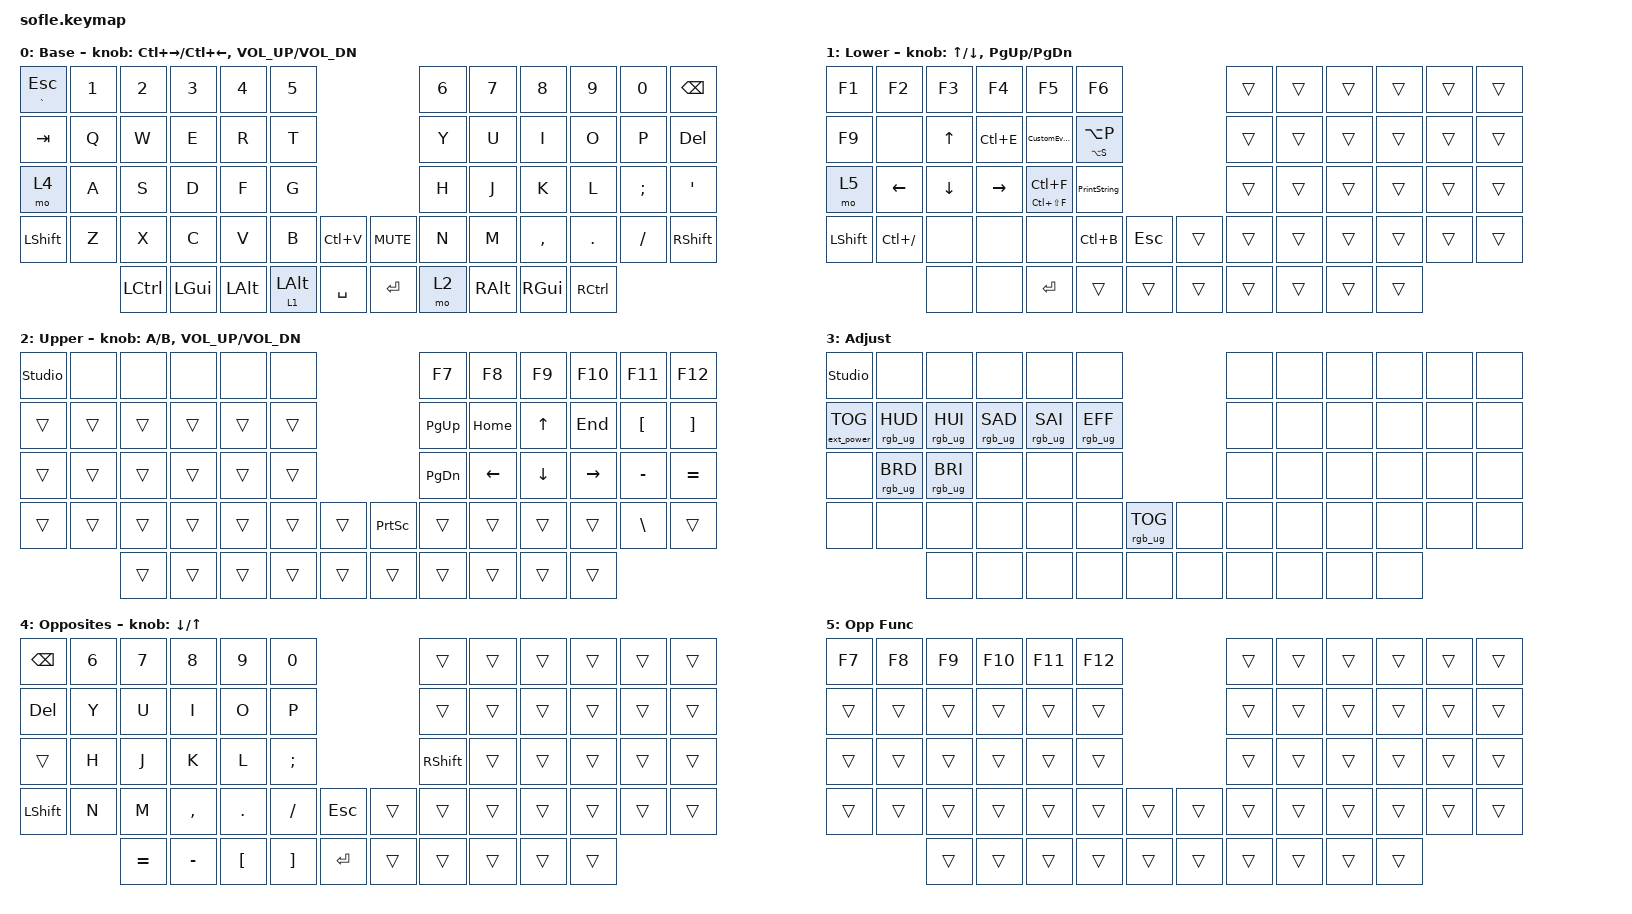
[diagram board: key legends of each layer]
/*
 * Copyright (c) 2020 The ZMK Contributors
 *
 * SPDX-License-Identifier: MIT
 */

#include <behaviors.dtsi>
#include <dt-bindings/zmk/ext_power.h>
#include <dt-bindings/zmk/keys.h>
#include <dt-bindings/zmk/rgb.h>

#define BASE 0
#define LOWER 1
#define RAISE 2
#define ADJUST 3

/ {
    // Activate ADJUST layer by pressing raise and lower

    conditional_layers {
        compatible = "zmk,conditional-layers";

        adjust_layer {
            if-layers = <1 2>;
            then-layer = <3>;
        };
    };

    macros {
        CustomEvent: CustomEvent {
            compatible = "zmk,behavior-macro";
            #binding-cells = <0>;
            bindings = <&kp TAB &kp LS(A) &kp D &kp D &kp SPACE &kp LS(C) &kp U &kp S &kp T &kp O &kp M &kp SPACE &kp LS(E) &kp V &kp E &kp N &kp T &kp DOT &kp DOT &kp DOT &kp ENTER>;
            label = "CUSTOMEVENT";
            wait-ms = <5>;
            tap-ms = <5>;
        };

        PrintString: new_macro {
            compatible = "zmk,behavior-macro";
            #binding-cells = <0>;
            bindings = <&kp TAB &kp LS(P) &kp R &kp I &kp N &kp T &kp SPACE &kp LS(S) &kp T &kp R &kp I &kp N &kp G &kp ENTER>;
            label = "NEW_MACRO";
        };

        DCancelA: DCancelA {
            compatible = "zmk,behavior-macro";
            #binding-cells = <0>;
            bindings =
                <&macro_release>,
                <&kp A>,
                <&macro_press>,
                <&kp D>,
                <&macro_pause_for_release>,
                <&macro_release>,
                <&kp D>,
                <&macro_press>,
                <&kp A>;

            label = "DCANCELA";
        };

        ACancelD: ACancelD {
            compatible = "zmk,behavior-macro";
            #binding-cells = <0>;
            bindings =
                <&macro_release>,
                <&kp D>,
                <&macro_press>,
                <&kp A>,
                <&macro_pause_for_release>,
                <&macro_release>,
                <&kp A>,
                <&macro_press>,
                <&kp D>;

            label = "ACANCELD";
        };

        esc_key_long_tap: esc_key_long_tap {
            compatible = "zmk,behavior-macro";
            #binding-cells = <0>;
            bindings = <&macro_tap>, <&kp ESC>;

            label = "ESC_KEY_LONG_TAP";
            tap-ms = <200>;
        };

        Long_Alt: Long_Alt {
            compatible = "zmk,behavior-macro";
            #binding-cells = <0>;
            bindings = <&macro_tap>, <&kp LEFT_ALT>;

            label = "LONG_ALT";
            tap-ms = <200>;
        };
    };

    combos {
        compatible = "zmk,combos";

        BackspaceOnLeft {
            bindings = <&kp BACKSPACE>;
            key-positions = <24 36>;
        };

        ComboDelete {
            bindings = <&kp DELETE>;
            key-positions = <53 54>;
        };

        NextDesktop {
            bindings = <&kp LG(LC(RIGHT_ARROW))>;
            key-positions = <4 5>;
            require-prior-idle-ms = <1000>;
        };

        PreviousDesktop {
            bindings = <&kp LC(LG(LEFT_ARROW))>;
            key-positions = <4 3>;
            require-prior-idle-ms = <1000>;
        };
    };

    behaviors {
        MT_Long: MT_Long {
            compatible = "zmk,behavior-hold-tap";
            label = "MT_LONG";
            bindings = <&mo>, <&Long_Alt>;

            #binding-cells = <2>;
            flavor = "hold-preferred";
            tapping-term-ms = <200>;
        };

        MT_Keys: MT_Keys {
            compatible = "zmk,behavior-hold-tap";
            label = "MT_KEYS";
            bindings = <&kp>, <&esc_key_long_tap>;

            #binding-cells = <2>;
            tapping-term-ms = <200>;
            flavor = "tap-preferred";
        };
    };

    keymap {
        compatible = "zmk,keymap";

        default_layer {
            display-name = "Base";

            // ------------------------------------------------------------------------------------------------------------
            // |   `   |  1  |  2  |  3   |  4   |  5   |                   |  6   |  7    |  8    |  9   |   0   |  BSPC |
            // |  ESC  |  Q  |  W  |  E   |  R   |  T   |                   |  Y   |  U    |  I    |  O   |   P   |  DEL  |
            // |  TAB  |  A  |  S  |  D   |  F   |  G   |                   |  H   |  J    |  K    |  L   |   ;   |   '   |
            // | SHIFT |  Z  |  X  |  C   |  V   |  B   |  MUTE  |  |       |  N   |  M    |  ,    |  .   |   /   | SHIFT |
            //               | CTRL| WIN  | ALT  | LOWER|  SPACE |  | ENTER | RAISE| ALT   | WIN   | CTRL |

            bindings = <
&MT_Keys GRAVE ESCAPE  &kp N1  &kp N2     &kp N3    &kp N4    &kp N5                                        &kp N6  &kp N7         &kp N8     &kp N9     &kp N0    &kp BSPC
&kp TAB                &kp Q   &kp W      &kp E     &kp R     &kp T                                         &kp Y   &kp U          &kp I      &kp O      &kp P     &kp DEL
&mo 4                  &kp A   &kp S      &kp D     &kp F     &kp G                                         &kp H   &kp J          &kp K      &kp L      &kp SEMI  &kp SQT
&kp LEFT_SHIFT         &kp Z   &kp X      &kp C     &kp V     &kp B                &kp LC(V)    &kp C_MUTE  &kp N   &kp M          &kp COMMA  &kp DOT    &kp FSLH  &kp RSHFT
                               &kp LCTRL  &kp LGUI  &kp LALT  &MT_Long 1 LEFT_ALT  &kp SPACE    &kp RET     &mo 2   &kp RIGHT_ALT  &kp RGUI   &kp RCTRL
            >;

            sensor-bindings =
                <&inc_dec_kp LC(RIGHT) LC(LEFT)>,
                <&inc_dec_kp C_VOL_UP C_VOL_DN>;
        };

        lower_layer {
            display-name = "Lower";

            // TODO: Some binds are waiting for shifted keycode support.
            // ------------------------------------------------------------------------------------------------------------
            // |       |  F1 |  F2 |  F3  |  F4  |  F5  |                   |  F6  |  F7   |  F8   |  F9  |  F10  |  F11  |
            // |   `   |  1  |  2  |  3   |  4   |  5   |                   |  6   |  7    |  8    |  9   |   0   |  F12  |
            // |       |  !  |  @  |  #   |  $   |  %   |                   |  ^   |  &    |  *    |  (   |   )   |   |   |
            // |       |  =  |  -  |  +   |  {   |  }   |        |  |       |  [   |  ]    |  ;    |  :   |   \   |       |
            //               |     |      |      |      |        |  |       |      |       |       |      |

            bindings = <
&kp F1     &kp F2         &kp F3          &kp F4     &kp F5               &kp F6                                 &trans  &trans  &trans  &trans  &trans  &trans
&kp F9     &none          &kp UP_ARROW    &kp LC(E)  &CustomEvent         &mt LA(S) LA(P)                        &trans  &trans  &trans  &trans  &trans  &trans
&mo 5      &kp LEFT       &kp DOWN_ARROW  &kp RIGHT  &mt LC(LS(F)) LC(F)  &PrintString                           &trans  &trans  &trans  &trans  &trans  &trans
&kp LSHFT  &kp LC(SLASH)  &none           &none      &none                &kp LC(B)        &kp ESCAPE    &trans  &trans  &trans  &trans  &trans  &trans  &trans
                          &none           &none      &kp ENTER            &trans           &trans        &trans  &trans  &trans  &trans  &trans
            >;

            sensor-bindings =
                <&inc_dec_kp UP_ARROW DOWN>,
                <&inc_dec_kp PG_UP PG_DN>;
        };

        raise_layer {
            display-name = "Upper";

            // ------------------------------------------------------------------------------------------------------------
            // | BTCLR | BT1  | BT2  |  BT3  |  BT4  |  BT5 |                |      |      |       |      |       |       |
            // |       | INS  | PSCR | GUI   |       |      |                | PGUP |      |   ^   |      |       |       |
            // |       | ALT  | CTRL | SHIFT |       | CAPS |                | PGDN |   <- |   v   |  ->  |  DEL  | BKSPC |
            // |       | UNDO | CUT  | COPY  | PASTE |      |      |  |      |      |      |       |      |       |       |
            //                |      |       |       |      |      |  |      |      |      |       |      |

            bindings = <
&studio_unlock  &none   &none   &none   &none   &none                              &kp F7     &kp F8    &kp F9    &kp F10    &kp F11           &kp F12
&trans          &trans  &trans  &trans  &trans  &trans                             &kp PG_UP  &kp HOME  &kp UP    &kp END    &kp LEFT_BRACKET  &kp RIGHT_BRACKET
&trans          &trans  &trans  &trans  &trans  &trans                             &kp PG_DN  &kp LEFT  &kp DOWN  &kp RIGHT  &kp MINUS         &kp EQUAL
&trans          &trans  &trans  &trans  &trans  &trans  &trans    &kp PRINTSCREEN  &trans     &trans    &trans    &trans     &kp BACKSLASH     &trans
                        &trans  &trans  &trans  &trans  &trans    &trans           &trans     &trans    &trans    &trans
            >;

            sensor-bindings =
                <&inc_dec_kp A B>,
                <&inc_dec_kp C_VOL_UP C_VOL_DN>;
        };

        adjust_layer {
            // ----------------------------------------------------------------------------------------------------------------------------
            // | BTCLR  |  BT1    |  BT2    |   BT3   |   BT4   |   BT5   |                  |      |      |       |      |       |       |
            // | EXTPWR | RGB_HUD | RGB_HUI | RGB_SAD | RGB_SAI | RGB_EFF |                  |      |      |       |      |       |       |
            // |        | RGB_BRD | RGB_BRI |         |         |         |                  |      |      |       |      |       |       |
            // |        |         |         |         |         |         | RGB_TOG | |      |      |      |       |      |       |       |
            //                    |         |         |         |         |         | |      |      |      |       |      |

            display-name = "Adjust";
            bindings = <
&studio_unlock     &none            &none            &none            &none            &none                                      &none  &none  &none  &none  &none  &none
&ext_power EP_TOG  &rgb_ug RGB_HUD  &rgb_ug RGB_HUI  &rgb_ug RGB_SAD  &rgb_ug RGB_SAI  &rgb_ug RGB_EFF                            &none  &none  &none  &none  &none  &none
&none              &rgb_ug RGB_BRD  &rgb_ug RGB_BRI  &none            &none            &none                                      &none  &none  &none  &none  &none  &none
&none              &none            &none            &none            &none            &none            &rgb_ug RGB_TOG    &none  &none  &none  &none  &none  &none  &none
                                    &none            &none            &none            &none            &none              &none  &none  &none  &none  &none
            >;
        };

        Opposites {
            bindings = <
&kp BACKSPACE  &kp N6  &kp N7     &kp N8     &kp N9            &kp N0                                   &trans     &trans  &trans  &trans  &trans  &trans
&kp DEL        &kp Y   &kp U      &kp I      &kp O             &kp P                                    &trans     &trans  &trans  &trans  &trans  &trans
&trans         &kp H   &kp J      &kp K      &kp L             &kp SEMI                                 &kp RSHFT  &trans  &trans  &trans  &trans  &trans
&kp LSHFT      &kp N   &kp M      &kp COMMA  &kp DOT           &kp FSLH           &kp ESCAPE    &trans  &trans     &trans  &trans  &trans  &trans  &trans
                       &kp EQUAL  &kp MINUS  &kp LEFT_BRACKET  &kp RIGHT_BRACKET  &kp RET       &trans  &trans     &trans  &trans  &trans
            >;

            label = "Opposites";
            sensor-bindings = <&inc_dec_kp DOWN UP>;
        };

        OppositeFunctions {
            bindings = <
&kp F7  &kp F8  &kp F9  &kp F10  &kp F11  &kp F12                    &trans  &trans  &trans  &trans  &trans  &trans
&trans  &trans  &trans  &trans   &trans   &trans                     &trans  &trans  &trans  &trans  &trans  &trans
&trans  &trans  &trans  &trans   &trans   &trans                     &trans  &trans  &trans  &trans  &trans  &trans
&trans  &trans  &trans  &trans   &trans   &trans   &trans    &trans  &trans  &trans  &trans  &trans  &trans  &trans
                &trans  &trans   &trans   &trans   &trans    &trans  &trans  &trans  &trans  &trans
            >;

            label = "Opp Func";
        };
    };
};
